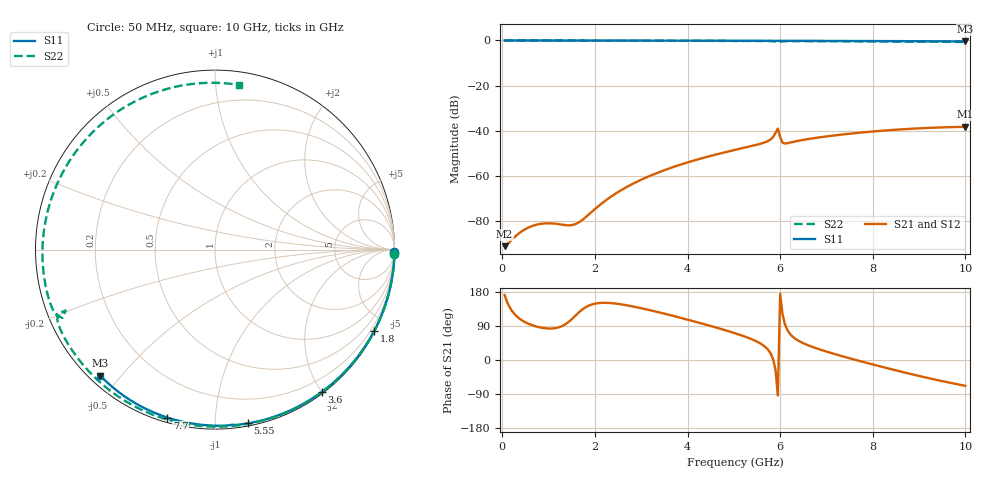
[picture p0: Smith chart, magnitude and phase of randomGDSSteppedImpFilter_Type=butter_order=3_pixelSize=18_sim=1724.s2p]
! freq	dB(S11)	phase(S11)	dB(S12)	phase(S12)
!  dB(S21)	phase(S21)	dB(S22)	phase(S22)
!S-par simulation data
#  GHz  S  DB  R 50
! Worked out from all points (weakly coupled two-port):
!   200 points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, 50 MHz to 10 GHz, reference 50 ohm
!   highest |S21| = -38.27 dB at 10 GHz (marker M1); lowest = -91.2 dB at 50 MHz (marker M2)
!   lowest |S11| = -0.4 dB at 10 GHz (marker M3), VSWR 38.74, Z = 1.54 - j22.1 ohm
!   |S11| at or under -10 dB: nowhere
!   |S22| runs from -0.9 to 0.0 dB; largest |S21 - S12| = 0
!   S11 on the Smith chart (normalised r, x): 50 MHz: open; 1.8 GHz: 0.04, -4.14; 3.6 GHz: 0.02, -2.00; 5.55 GHz: 0.02, -1.21; 7.7 GHz: 0.02, -0.76; 10 GHz: 0.03, -0.44
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0.05  -0.00 -0.8  -91.16 171.5  -91.16 171.5  -0.00 -1.5
0.85  -0.01 -13.0  -81.20 85.1  -81.20 85.1  -0.03 -24.7
1.7  -0.03 -25.7  -79.96 130.6  -79.96 130.6  -0.06 -48.7
1.75  -0.03 -26.4  -79.18 135.2  -79.18 135.2  -0.06 -50.1
1.8  -0.03 -27.2  -78.33 139.2  -78.33 139.2  -0.07 -51.5
2.5  -0.05 -37.4  -67.18 148.1  -67.18 148.1  -0.09 -70.5
3.4  -0.07 -50.3  -58.26 125.3  -58.26 125.3  -0.12 -93.9
3.6  -0.07 -53.1  -56.75 119.2  -56.75 119.2  -0.13 -99.0
4.3  -0.09 -62.7  -52.25 96.6  -52.25 96.6  -0.16 -116.5
5.05  -0.11 -72.8  -48.39 69.7  -48.39 69.7  -0.20 -134.9
5.55  -0.13 -79.3  -45.92 45.2  -45.92 45.2  -0.24 -147.4
5.8  -0.14 -82.5  -43.76 16.1  -43.76 16.1  -0.29 -154.2
5.9  -0.15 -83.9  -40.97 -26.6  -40.97 -26.6  -0.48 -157.8
5.95  -0.17 -84.4  -39.04 -93.6  -39.04 -93.6  -0.93 -157.9
6  -0.17 -84.9  -42.77 174.8  -42.77 174.8  -0.62 -155.8
6.05  -0.16 -85.6  -45.28 122.4  -45.28 122.4  -0.39 -157.6
6.1  -0.16 -86.2  -45.67 95.5  -45.67 95.5  -0.33 -159.4
6.7  -0.18 -93.7  -43.39 34.4  -43.39 34.4  -0.33 -175.6
7.7  -0.24 -105.8  -40.90 -2.1  -40.90 -2.1  -0.42 157.2
8.35  -0.29 -113.4  -39.76 -22.8  -39.76 -22.8  -0.49 138.0
9.25  -0.37 -123.8  -38.71 -49.1  -38.71 -49.1  -0.58 108.6
10  -0.45 -132.4  -38.27 -68.1  -38.27 -68.1  -0.66 81.6
